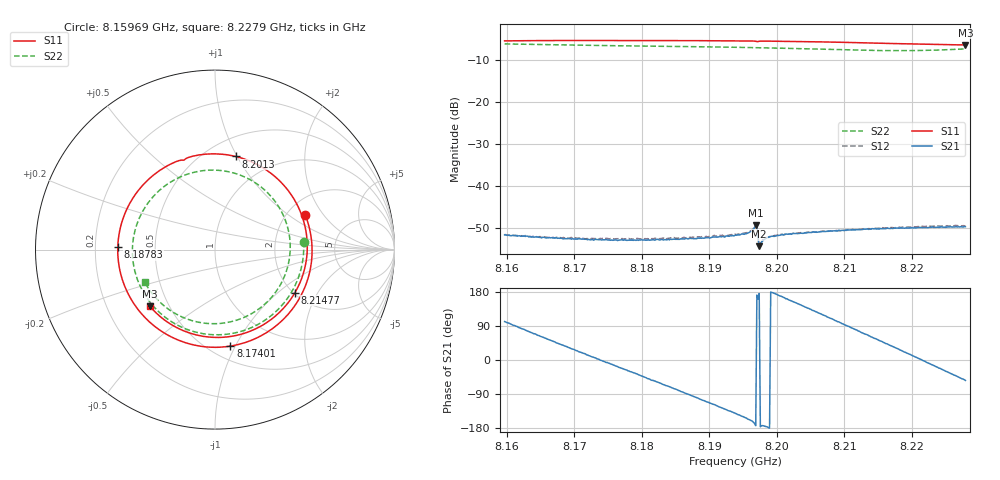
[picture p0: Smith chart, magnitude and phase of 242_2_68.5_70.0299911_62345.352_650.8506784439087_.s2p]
#  HZ  S  RI  R  50.00
! Rohde & Schwarz Vector Network Analyzer
! Rohde-Schwarz,ZNB20-2Port,1311601062101988,3.16
! Created: UTC 3/20/2024, 4:59:23 PM
! freq[Hz]  re:S11  im:S11  re:S21  im:S21  re:S12  im:S12  re:S22  im:S22
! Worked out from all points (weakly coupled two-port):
!   401 points, 8.15969 GHz to 8.2279 GHz, reference 50 ohm
!   highest |S21| = -49.41 dB at 8.19686 GHz (marker M1); lowest = -54.4 dB at 8.19737 GHz (marker M2)
!   lowest |S11| = -6.4 dB at 8.2279 GHz (marker M3), VSWR 2.85, Z = 19.6 - j16.1 ohm
!   |S11| at or under -10 dB: nowhere
!   |S22| runs from -7.7 to -6.1 dB; largest |S21 - S12| = 0.00022
!   S11 on the Smith chart (normalised r, x): 8.15969 GHz: 2.48, +1.36; 8.17401 GHz: 0.63, -0.96; 8.18783 GHz: 0.30, +0.01; 8.2013 GHz: 0.68, +0.99; 8.21477 GHz: 2.04, -1.31; 8.2279 GHz: 0.39, -0.32
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8.15969e9  0.5015 0.1955  -0.000513 0.00255  -0.000505 0.00257  0.4932 0.0448
8.165146e9  0.5171 -0.1639  0.00114 0.0021  0.00118 0.00215  0.4083 -0.2649
8.171114e9  0.2713 -0.4719  0.00217 0.000767  0.00221 0.000786  0.1285 -0.4601
8.174013e9  0.086 -0.5376  0.00226 -4.2e-05  0.00234 -2.35e-05  -0.0368 -0.4725
8.178106e9  -0.19 -0.5098  0.00196 -0.00109  0.00204 -0.00116  -0.2531 -0.3945
8.182539e9  -0.4327 -0.3289  0.00114 -0.00195  0.00112 -0.00204  -0.4144 -0.2089
8.187825e9  -0.5415 0.0155  -0.000296 -0.00232  -0.000364 -0.0024  -0.452 0.0777
8.190724e9  -0.4971 0.2125  -0.00115 -0.00216  -0.00127 -0.00222  -0.3947 0.2275
8.193793e9  -0.3741 0.3877  -0.00198 -0.00164  -0.00212 -0.00159  -0.2807 0.3536
8.196863e9  -0.187 0.4986  -0.00336 -0.000393  -0.00341 -0.000227  -0.1265 0.4284
8.197374e9  -0.1618 0.5074  -0.0019 0.000145  -0.00194 0.000227  -0.0987 0.4348
8.197715e9  -0.1376 0.5168  -0.0021 -0.000244  -0.00213 -0.000162  -0.0796 0.4383
8.198568e9  -0.0773 0.5289  -0.0024 -0.000149  -0.00243 -1.56e-05  -0.0316 0.4429
8.201296e9  0.1147 0.5192  -0.0025 0.000825  -0.0025 0.000882  0.1215 0.4215
8.205218e9  0.3555 0.3873  -0.00183 0.0021  -0.0018 0.00216  0.3097 0.2993
8.210163e9  0.5104 0.0785  -9.99e-05 0.00296  -4.52e-05 0.00295  0.4189 0.032
8.214767e9  0.4456 -0.2397  0.00174 0.0025  0.00185 0.00249  0.3386 -0.2359
8.216642e9  0.3627 -0.3463  0.0024 0.00197  0.00247 0.00194  0.2561 -0.322
8.219541e9  0.1869 -0.4582  0.00302 0.000857  0.00312 0.00077  0.0869 -0.4023
8.222269e9  -0.00709 -0.489  0.00314 -0.000396  0.00321 -0.000544  -0.0937 -0.4043
8.224827e9  -0.1865 -0.4474  0.00284 -0.00151  0.00285 -0.00167  -0.2528 -0.3366
8.227897e9  -0.3629 -0.3156  0.00192 -0.00263  0.00183 -0.00277  -0.3924 -0.1793
